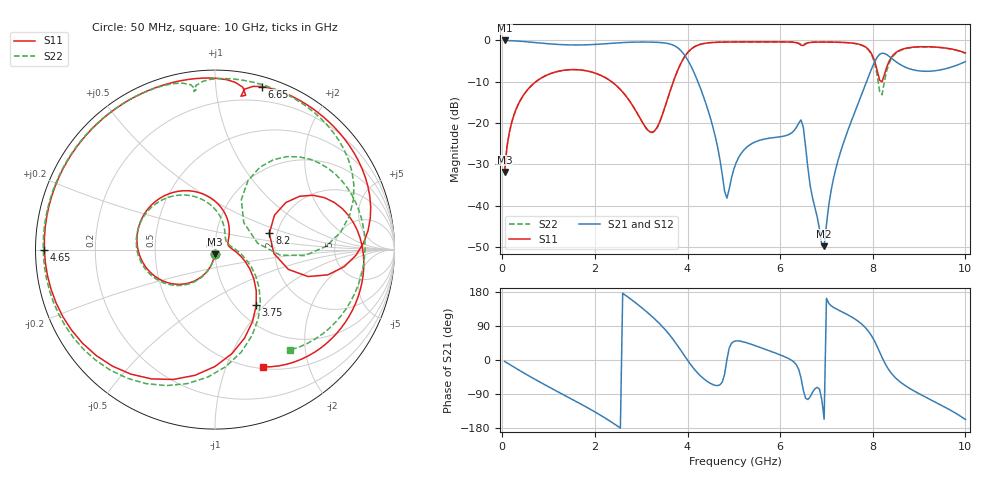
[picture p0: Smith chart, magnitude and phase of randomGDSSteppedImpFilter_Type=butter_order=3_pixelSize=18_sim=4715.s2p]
! freq	dB(S11)	phase(S11)	dB(S12)	phase(S12)
!  dB(S21)	phase(S21)	dB(S22)	phase(S22)
!S-par simulation data
#  GHz  S  DB  R 50
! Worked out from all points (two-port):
!   200 points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, 50 MHz to 10 GHz, reference 50 ohm
!   highest |S21| = -0.01 dB at 50 MHz (marker M1); lowest = -49.8 dB at 6.95 GHz (marker M2)
!   |S21| within 3 dB of the highest: start of sweep to 3.9 GHz
!   lowest |S11| = -31.8 dB at 50 MHz (marker M3), VSWR 1.05, Z = 49.8 - j2.55 ohm
!   |S11| at or under -10 dB: start of sweep to 724.4 MHz; 2.361 GHz to 3.693 GHz (1.332 GHz wide, 44 % of centre); 8.198755 GHz to 8.20026 GHz (1.505 MHz wide, 0.0184 % of centre)
!   |S22| runs from -31.8 to -0.3 dB; largest |S21 - S12| = 0
!   S11 on the Smith chart (normalised r, x): 50 MHz: 1.00, -0.05; 3.75 GHz: 1.23, -0.90; 4.65 GHz: 0.03, -0.00; 6.65 GHz: 0.08, +1.32; 8.2 GHz: 1.82, +0.37; 10 GHz: 0.52, -1.35
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0.05  -31.81 -93.8  -0.01 -3.8  -0.01 -3.8  -31.82 -93.7
0.2  -19.95 -105.5  -0.07 -14.9  -0.07 -14.9  -19.94 -104.9
0.5  -12.57 -127.8  -0.30 -36.7  -0.30 -36.7  -12.57 -126.4
1.75  -7.22 147.2  -1.08 -119.7  -1.08 -119.7  -7.22 153.0
2.7  -13.89 72.9  -0.47 167.3  -0.47 167.3  -13.87 84.8
3.4  -19.66 -1.6  -0.50 95.4  -0.50 95.4  -19.75 5.0
3.75  -8.27 -53.5  -1.49 44.0  -1.49 44.0  -8.25 -49.2
4.1  -1.91 -116.1  -6.80 -17.3  -6.80 -17.3  -1.89 -109.7
4.65  -0.44 -179.8  -25.84 -67.5  -25.84 -67.5  -0.42 -170.1
4.85  -0.39 165.2  -38.15 0.7  -38.15 0.7  -0.37 175.9
5.05  -0.36 152.1  -29.58 50.5  -29.58 50.5  -0.35 163.7
6.45  -1.14 78.7  -19.23 -47.0  -19.23 -47.0  -0.95 96.8
6.65  -0.49 74.0  -35.21 -96.7  -35.21 -96.7  -0.46 91.6
6.7  -0.44 71.3  -38.11 -85.1  -38.11 -85.1  -0.42 89.0
6.95  -0.39 58.5  -49.76 -156.2  -49.76 -156.2  -0.39 77.0
7.2  -0.42 45.7  -31.12 135.5  -31.12 135.5  -0.43 64.7
7.8  -1.31 7.2  -11.91 90.4  -11.91 90.4  -1.37 25.0
8.05  -5.35 -16.1  -4.95 47.0  -4.95 47.0  -5.97 -3.8
8.2  -10.01 16.6  -3.09 7.0  -3.09 7.0  -13.14 43.3
8.35  -5.08 32.2  -3.82 -26.4  -3.82 -26.4  -5.63 61.4
9.1  -1.52 -15.6  -7.46 -95.4  -7.46 -95.4  -1.55 6.4
10  -3.03 -67.9  -5.13 -156.9  -5.13 -156.9  -3.12 -53.4
